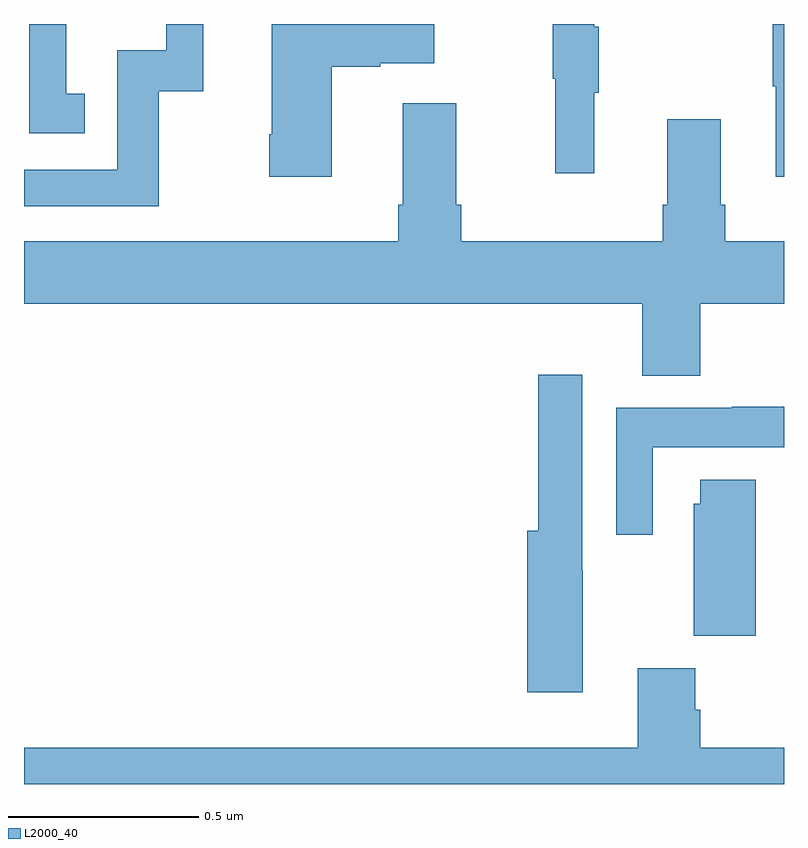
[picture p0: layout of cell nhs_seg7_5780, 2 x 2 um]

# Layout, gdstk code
import gdstk
lib = gdstk.Library(unit=1e-6, precision=1e-09)
def P(c, l, *ps):  # polygons
    for p in ps: c.add(gdstk.Polygon(p, *l))
L2000_40 = (2000, 40)

nhs_seg7_5780 = lib.new_cell('nhs_seg7_5780')
P(nhs_seg7_5780, L2000_40, [(192,1020),(191.971,1020),(191.971,1019.836),(191.978,1019.836),(191.978,1019.598),(192,1019.598)],
  [(190.81,1019.887),(190.937,1019.887),(190.937,1019.897),(191.08,1019.897),(191.08,1020),(190.652,1020),(190.652,1019.71),(190.645,1019.71),(190.645,1019.598),(190.81,1019.598)],
  [(191.501,1019.819),(191.512,1019.819),(191.512,1019.993),(191.501,1019.993),(191.501,1020),(191.391,1020),(191.391,1019.856),(191.398,1019.856),(191.398,1019.607),(191.501,1019.607)],
  [(190.16,1019.817),(190.111,1019.817),(190.111,1020),(190.014,1020),(190.014,1019.712),(190.16,1019.712)],
  [(190.354,1019.823),(190.472,1019.823),(190.472,1020),(190.374,1020),(190.374,1019.931),(190.245,1019.931),(190.245,1019.616),(190,1019.616),(190,1019.52),(190.354,1019.52)],
  [(191.78,1019.264),(192,1019.264),(192,1019.428),(191.846,1019.428),(191.846,1019.524),(191.833,1019.524),(191.833,1019.749),(191.693,1019.749),(191.693,1019.524),(191.681,1019.524),(191.681,1019.428),(191.15,1019.428),(191.15,1019.524),(191.137,1019.524),(191.137,1019.791),(190.997,1019.791),(190.997,1019.524),(190.985,1019.524),(190.985,1019.428),(190,1019.428),(190,1019.264),(191.627,1019.264),(191.627,1019.075),(191.78,1019.075)],
  [(191.47,1018.562),(191.469,1018.562),(191.469,1019.077),(191.353,1019.077),(191.353,1018.666),(191.324,1018.666),(191.324,1018.242),(191.47,1018.242)],
  [(191.655,1018.886),(192,1018.886),(192,1018.993),(191.863,1018.993),(191.863,1018.99),(191.559,1018.99),(191.559,1018.656),(191.655,1018.656)],
  [(191.926,1018.801),(191.78,1018.801),(191.78,1018.737),(191.762,1018.737),(191.762,1018.39),(191.926,1018.39)],
  [(192,1018.096),(191.78,1018.096),(191.78,1018.196),(191.767,1018.196),(191.767,1018.305),(191.615,1018.305),(191.615,1018.096),(190,1018.096),(190,1018),(192,1018)])

lib.write_gds('nhs_seg7_5780.gds')
